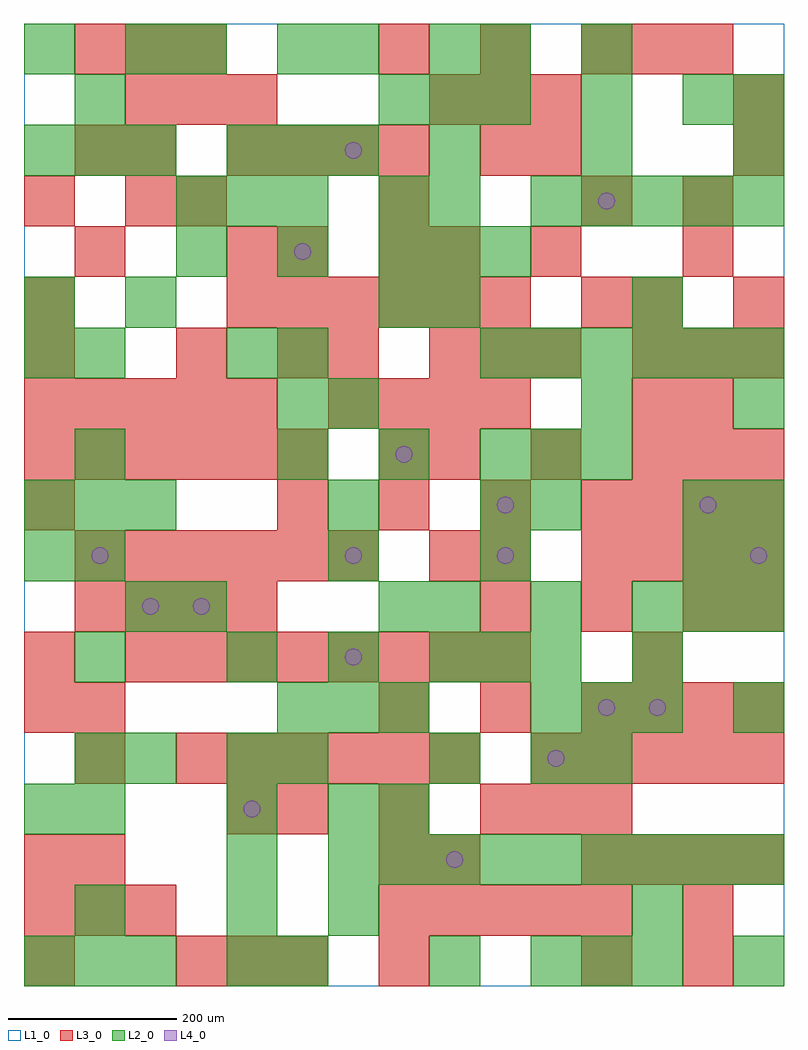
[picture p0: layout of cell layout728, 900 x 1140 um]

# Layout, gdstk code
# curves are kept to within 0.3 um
import gdstk
lib = gdstk.Library(unit=1e-6, precision=1e-09)
def R(c, l, rs):  # rectangles x0, y0, x1, y1
    for r in rs: c.add(gdstk.rectangle(r[:2], r[2:], *l))
def A(c, l, x, y, w, h, nx, ny, dx, dy):  # array of equal rectangles
    R(c, l, [(x+i*dx, y+j*dy, x+i*dx+w, y+j*dy+h) for i in range(nx) for j in range(ny)])
def P(c, l, *ps):  # polygons
    for p in ps: c.add(gdstk.Polygon(p, *l))
L1_0 = (1, 0)
L2_0 = (2, 0)
L3_0 = (3, 0)
L4_0 = (4, 0)

layout728 = lib.new_cell('layout728')
R(layout728, L1_0, [(0,0,900,1140)])
A(layout728, L2_0, 0, 0, 60, 60, 3, 2, 60, 540)
A(layout728, L2_0, 240, 0, 60, 60, 1, 5, 0, 60)
A(layout728, L2_0, 600, 0, 60, 60, 3, 2, 60, 300)
A(layout728, L2_0, 360, 120, 60, 60, 9, 1, 60, 0)
A(layout728, L2_0, 60, 240, 60, 60, 1, 5, 0, 120)
A(layout728, L2_0, 300, 300, 60, 60, 3, 1, 60, 0)
A(layout728, L2_0, 240, 360, 60, 60, 3, 1, 120, 0)
A(layout728, L2_0, 480, 420, 60, 60, 3, 1, 120, 0)
A(layout728, L2_0, 780, 420, 60, 60, 1, 3, 0, 60)
A(layout728, L2_0, 840, 420, 60, 60, 1, 3, 0, 60)
A(layout728, L2_0, 300, 600, 60, 60, 3, 1, 120, 0)
A(layout728, L2_0, 540, 720, 60, 60, 6, 1, 60, 0)
A(layout728, L2_0, 480, 780, 60, 60, 1, 3, 0, 60)
A(layout728, L2_0, 180, 840, 60, 60, 3, 1, 120, 0)
A(layout728, L2_0, 180, 900, 60, 60, 3, 1, 60, 0)
A(layout728, L2_0, 600, 900, 60, 60, 5, 1, 60, 0)
A(layout728, L2_0, 0, 960, 60, 60, 3, 1, 60, 0)
A(layout728, L2_0, 240, 960, 60, 60, 3, 1, 60, 0)
A(layout728, L2_0, 480, 960, 60, 60, 3, 1, 180, 0)
A(layout728, L2_0, 420, 1020, 60, 60, 3, 1, 60, 0)
R(layout728, L2_0, [(300,0,360,60), (480,0,540,60), (840,0,900,60), (60,60,120,120), (360,60,420,120), (720,60,780,120), (0,180,60,240), (60,180,120,240), (360,180,420,240), (420,180,480,240), (120,240,180,300), (300,240,360,300), (480,240,540,300), (600,240,660,300), (660,240,720,300), (840,300,900,360), (540,360,600,420), (600,360,660,420), (720,360,780,420), (120,420,180,480), (180,420,240,480), (420,420,480,480), (0,480,60,540), (360,480,420,540), (540,480,600,540), (360,540,420,600), (540,540,600,600), (600,540,660,600), (600,600,660,660), (660,600,720,660), (300,660,360,720), (360,660,420,720), (660,660,720,720), (840,660,900,720), (0,720,60,780), (240,720,300,780), (300,720,360,780), (0,780,60,840), (120,780,180,840), (420,780,480,840), (720,780,780,840), (540,840,600,900), (420,900,480,960), (60,1020,120,1080), (660,1020,720,1080), (780,1020,840,1080), (840,1020,900,1080), (0,1080,60,1140), (120,1080,180,1140), (180,1080,240,1140), (300,1080,360,1140), (360,1080,420,1140), (480,1080,540,1140), (540,1080,600,1140), (660,1080,720,1140)])
A(layout728, L3_0, 180, 0, 60, 60, 3, 1, 60, 0)
A(layout728, L3_0, 0, 60, 60, 60, 3, 1, 60, 0)
A(layout728, L3_0, 420, 60, 60, 60, 5, 1, 60, 0)
A(layout728, L3_0, 480, 120, 60, 60, 1, 3, 0, 360)
A(layout728, L3_0, 660, 120, 60, 60, 4, 2, 60, 360)
A(layout728, L3_0, 300, 180, 60, 60, 3, 1, 120, 0)
A(layout728, L3_0, 180, 240, 60, 60, 6, 1, 60, 0)
A(layout728, L3_0, 600, 240, 60, 60, 5, 1, 60, 0)
A(layout728, L3_0, 420, 300, 60, 60, 3, 2, 120, 780)
A(layout728, L3_0, 720, 300, 60, 60, 3, 2, 60, 240)
A(layout728, L3_0, 0, 360, 60, 60, 1, 3, 0, 180)
A(layout728, L3_0, 120, 360, 60, 60, 8, 1, 60, 0)
A(layout728, L3_0, 60, 420, 60, 60, 4, 1, 60, 0)
A(layout728, L3_0, 540, 420, 60, 60, 3, 1, 120, 0)
A(layout728, L3_0, 840, 420, 60, 60, 1, 4, 0, 180)
A(layout728, L3_0, 60, 480, 60, 60, 6, 1, 60, 0)
A(layout728, L3_0, 300, 540, 60, 60, 4, 1, 120, 0)
A(layout728, L3_0, 0, 600, 60, 60, 6, 1, 60, 0)
A(layout728, L3_0, 480, 600, 60, 60, 3, 1, 120, 0)
A(layout728, L3_0, 0, 660, 60, 60, 5, 1, 60, 0)
A(layout728, L3_0, 360, 660, 60, 60, 4, 1, 60, 0)
A(layout728, L3_0, 480, 720, 60, 60, 3, 2, 60, 300)
A(layout728, L3_0, 720, 720, 60, 60, 3, 1, 60, 0)
A(layout728, L3_0, 240, 780, 60, 60, 6, 1, 60, 0)
A(layout728, L3_0, 180, 900, 60, 60, 3, 1, 240, 0)
A(layout728, L3_0, 240, 960, 60, 60, 4, 1, 60, 0)
A(layout728, L3_0, 120, 1020, 60, 60, 3, 1, 60, 0)
A(layout728, L3_0, 60, 1080, 60, 60, 3, 1, 60, 0)
R(layout728, L3_0, [(0,0,60,60), (420,0,480,60), (660,0,720,60), (780,0,840,60), (780,60,840,120), (0,120,60,180), (60,120,120,180), (420,120,480,180), (240,180,300,240), (600,180,660,240), (660,180,720,240), (60,240,120,300), (0,300,60,360), (60,300,120,360), (720,360,780,420), (540,480,600,540), (420,600,480,660), (780,600,840,660), (720,660,780,720), (780,660,840,720), (180,720,240,780), (300,720,360,780), (360,720,420,780), (0,780,60,840), (660,780,720,840), (720,780,780,840), (60,840,120,900), (240,840,300,900), (300,840,360,900), (420,840,480,900), (600,840,660,900), (780,840,840,900), (0,900,60,960), (120,900,180,960), (780,900,840,960), (60,960,120,1020), (120,960,180,1020), (540,960,600,1020), (600,960,660,1020), (840,1020,900,1080), (720,1080,780,1140), (780,1080,840,1140)])
P(layout728, L4_0, [(100,510),(99.239,513.827),(97.071,517.071),(93.827,519.239),(90,520),(86.173,519.239),(82.929,517.071),(80.761,513.827),(80,510),(80.761,506.173),(82.929,502.929),(86.173,500.761),(90,500),(93.827,500.761),(97.071,502.929),(99.239,506.173)],
  [(160,450),(159.239,453.827),(157.071,457.071),(153.827,459.239),(150,460),(146.173,459.239),(142.929,457.071),(140.761,453.827),(140,450),(140.761,446.173),(142.929,442.929),(146.173,440.761),(150,440),(153.827,440.761),(157.071,442.929),(159.239,446.173)],
  [(220,450),(219.239,453.827),(217.071,457.071),(213.827,459.239),(210,460),(206.173,459.239),(202.929,457.071),(200.761,453.827),(200,450),(200.761,446.173),(202.929,442.929),(206.173,440.761),(210,440),(213.827,440.761),(217.071,442.929),(219.239,446.173)],
  [(280,210),(279.239,213.827),(277.071,217.071),(273.827,219.239),(270,220),(266.173,219.239),(262.929,217.071),(260.761,213.827),(260,210),(260.761,206.173),(262.929,202.929),(266.173,200.761),(270,200),(273.827,200.761),(277.071,202.929),(279.239,206.173)],
  [(340,870),(339.239,873.827),(337.071,877.071),(333.827,879.239),(330,880),(326.173,879.239),(322.929,877.071),(320.761,873.827),(320,870),(320.761,866.173),(322.929,862.929),(326.173,860.761),(330,860),(333.827,860.761),(337.071,862.929),(339.239,866.173)],
  [(400,390),(399.239,393.827),(397.071,397.071),(393.827,399.239),(390,400),(386.173,399.239),(382.929,397.071),(380.761,393.827),(380,390),(380.761,386.173),(382.929,382.929),(386.173,380.761),(390,380),(393.827,380.761),(397.071,382.929),(399.239,386.173)],
  [(400,510),(399.239,513.827),(397.071,517.071),(393.827,519.239),(390,520),(386.173,519.239),(382.929,517.071),(380.761,513.827),(380,510),(380.761,506.173),(382.929,502.929),(386.173,500.761),(390,500),(393.827,500.761),(397.071,502.929),(399.239,506.173)],
  [(400,990),(399.239,993.827),(397.071,997.071),(393.827,999.239),(390,1000),(386.173,999.239),(382.929,997.071),(380.761,993.827),(380,990),(380.761,986.173),(382.929,982.929),(386.173,980.761),(390,980),(393.827,980.761),(397.071,982.929),(399.239,986.173)],
  [(460,630),(459.239,633.827),(457.071,637.071),(453.827,639.239),(450,640),(446.173,639.239),(442.929,637.071),(440.761,633.827),(440,630),(440.761,626.173),(442.929,622.929),(446.173,620.761),(450,620),(453.827,620.761),(457.071,622.929),(459.239,626.173)],
  [(520,150),(519.239,153.827),(517.071,157.071),(513.827,159.239),(510,160),(506.173,159.239),(502.929,157.071),(500.761,153.827),(500,150),(500.761,146.173),(502.929,142.929),(506.173,140.761),(510,140),(513.827,140.761),(517.071,142.929),(519.239,146.173)],
  [(580,510),(579.239,513.827),(577.071,517.071),(573.827,519.239),(570,520),(566.173,519.239),(562.929,517.071),(560.761,513.827),(560,510),(560.761,506.173),(562.929,502.929),(566.173,500.761),(570,500),(573.827,500.761),(577.071,502.929),(579.239,506.173)],
  [(580,570),(579.239,573.827),(577.071,577.071),(573.827,579.239),(570,580),(566.173,579.239),(562.929,577.071),(560.761,573.827),(560,570),(560.761,566.173),(562.929,562.929),(566.173,560.761),(570,560),(573.827,560.761),(577.071,562.929),(579.239,566.173)],
  [(640,270),(639.239,273.827),(637.071,277.071),(633.827,279.239),(630,280),(626.173,279.239),(622.929,277.071),(620.761,273.827),(620,270),(620.761,266.173),(622.929,262.929),(626.173,260.761),(630,260),(633.827,260.761),(637.071,262.929),(639.239,266.173)],
  [(700,330),(699.239,333.827),(697.071,337.071),(693.827,339.239),(690,340),(686.173,339.239),(682.929,337.071),(680.761,333.827),(680,330),(680.761,326.173),(682.929,322.929),(686.173,320.761),(690,320),(693.827,320.761),(697.071,322.929),(699.239,326.173)],
  [(700,930),(699.239,933.827),(697.071,937.071),(693.827,939.239),(690,940),(686.173,939.239),(682.929,937.071),(680.761,933.827),(680,930),(680.761,926.173),(682.929,922.929),(686.173,920.761),(690,920),(693.827,920.761),(697.071,922.929),(699.239,926.173)],
  [(760,330),(759.239,333.827),(757.071,337.071),(753.827,339.239),(750,340),(746.173,339.239),(742.929,337.071),(740.761,333.827),(740,330),(740.761,326.173),(742.929,322.929),(746.173,320.761),(750,320),(753.827,320.761),(757.071,322.929),(759.239,326.173)],
  [(820,570),(819.239,573.827),(817.071,577.071),(813.827,579.239),(810,580),(806.173,579.239),(802.929,577.071),(800.761,573.827),(800,570),(800.761,566.173),(802.929,562.929),(806.173,560.761),(810,560),(813.827,560.761),(817.071,562.929),(819.239,566.173)],
  [(880,510),(879.239,513.827),(877.071,517.071),(873.827,519.239),(870,520),(866.173,519.239),(862.929,517.071),(860.761,513.827),(860,510),(860.761,506.173),(862.929,502.929),(866.173,500.761),(870,500),(873.827,500.761),(877.071,502.929),(879.239,506.173)])

lib.write_gds('layout728.gds')
